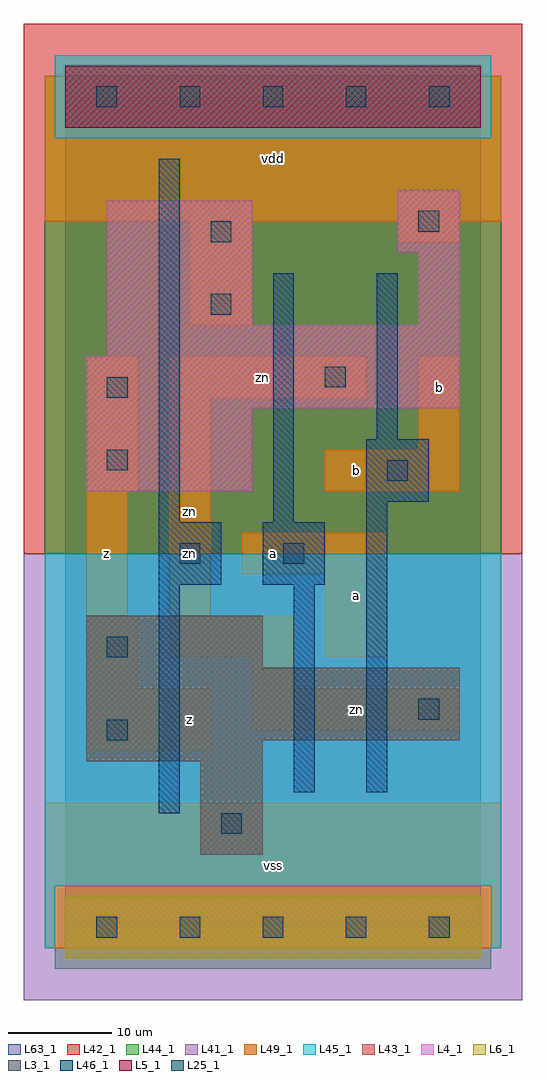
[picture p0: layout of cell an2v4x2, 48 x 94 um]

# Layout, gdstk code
import gdstk
lib = gdstk.Library(unit=1e-6, precision=1e-09)
def R(c, l, rs):  # rectangles x0, y0, x1, y1
    for r in rs: c.add(gdstk.rectangle(r[:2], r[2:], *l))
def A(c, l, x, y, w, h, nx, ny, dx, dy):  # array of equal rectangles
    R(c, l, [(x+i*dx, y+j*dy, x+i*dx+w, y+j*dy+h) for i in range(nx) for j in range(ny)])
L3_1 = (3, 1)
L4_1 = (4, 1)
L5_1 = (5, 1)
L6_1 = (6, 1)
L25_1 = (25, 1)
L41_1 = (41, 1)
L42_1 = (42, 1)
L43_1 = (43, 1)
L44_1 = (44, 1)
L45_1 = (45, 1)
L46_1 = (46, 1)
L49_1 = (49, 1)
L63_1 = (63, 1)

an2v4x2 = lib.new_cell('an2v4x2')
R(an2v4x2, L3_1, [(13,7,19,16), (2,16,19,18), (2,18,38,25), (2,25,19,30)])
R(an2v4x2, L4_1, [(2,42,18,50), (2,50,38,55), (4,55,38,58), (4,58,18,70), (34,58,38,65), (32,65,38,71)])
R(an2v4x2, L5_1, [(0,77,40,83)])
R(an2v4x2, L6_1, [(0,-3,40,3), (0,-3,40,3)])
A(an2v4x2, L25_1, 3, -1, 2, 2, 5, 2, 8, 80)
R(an2v4x2, L25_1, [(15,9,17,11), (4,18,6,20), (34,20,36,22), (4,26,6,28), (11,35,13,37), (21,35,23,37), (31,43,33,45), (4,44,6,46), (4,51,6,53), (25,52,27,54), (14,59,16,61), (14,66,16,68), (34,67,36,69)])
R(an2v4x2, L41_1, [(-4,-7,44,36)])
R(an2v4x2, L42_1, [(-4,36,44,87)])
R(an2v4x2, L43_1, [(0,-3,40,3), (13,7,19,16), (2,16,19,18), (2,18,38,25), (2,25,19,30), (2,42,18,50), (2,50,38,55), (4,55,38,58), (4,58,18,70), (34,58,38,65), (32,65,38,71), (0,77,40,83)])
R(an2v4x2, L44_1, [(-1,-4,41,4), (-2,36,42,76), (-2,76,-1,82), (41,76,42,82)])
R(an2v4x2, L45_1, [(-2,-2,-1,4), (41,-2,42,4), (-2,4,42,36), (-1,76,41,84)])
R(an2v4x2, L46_1, [(9,11,11,33), (22,13,24,33), (29,13,31,41), (9,33,15,39), (19,33,25,39), (9,39,11,74), (20,39,22,63), (29,41,35,47), (30,47,32,63)])
R(an2v4x2, L49_1, [(-2,-2,42,12), (2,17,14,23), (18,19,38,23), (2,23,7,30), (18,23,22,26), (10,26,22,30), (25,26,31,34), (2,30,6,42), (10,30,14,51), (17,34,31,38), (2,42,7,55), (25,42,38,46), (34,46,38,55), (10,51,29,55), (12,58,18,68), (32,66,38,68), (-2,68,42,82)])
R(an2v4x2, L63_1, [(0,0,40,80)])
an2v4x2.add(gdstk.Label('zn', (12,36), layer=49, texttype=1))
an2v4x2.add(gdstk.Label('z', (4,36), layer=49, texttype=1))
an2v4x2.add(gdstk.Label('z', (12,20), layer=49, texttype=1))
an2v4x2.add(gdstk.Label('zn', (12,40), layer=49, texttype=1))
an2v4x2.add(gdstk.Label('vss', (20,6), layer=49, texttype=1))
an2v4x2.add(gdstk.Label('a', (20,36), layer=49, texttype=1))
an2v4x2.add(gdstk.Label('a', (28,32), layer=49, texttype=1))
an2v4x2.add(gdstk.Label('b', (28,44), layer=49, texttype=1))
an2v4x2.add(gdstk.Label('zn', (19,53), layer=49, texttype=1))
an2v4x2.add(gdstk.Label('vdd', (20,74), layer=49, texttype=1))
an2v4x2.add(gdstk.Label('zn', (28,21), layer=49, texttype=1))
an2v4x2.add(gdstk.Label('b', (36,52), layer=49, texttype=1))

lib.write_gds('an2v4x2.gds')
